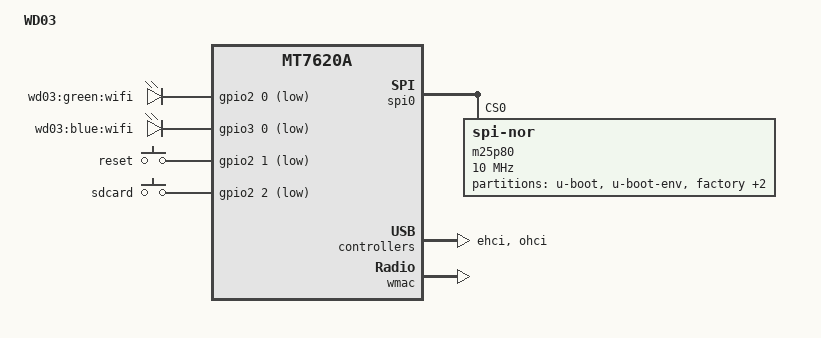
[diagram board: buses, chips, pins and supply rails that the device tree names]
/dts-v1/;

#include "mt7620a.dtsi"

#include <dt-bindings/input/input.h>

/ {
	compatible = "WD03", "ralink,mt7620a-soc";
	model = "WD03";

	chosen {
		bootargs = "console=ttyS0,115200";
	};

	gpio-leds {
		compatible = "gpio-leds";

		green-wifi {
			label = "wd03:green:wifi";
			gpios = <&gpio2 0 1>;
		};


		blue-wifi {
			label = "wd03:blue:wifi";
			gpios = <&gpio3 0 1>;
		};

	};

	gpio-keys-polled {
		compatible = "gpio-keys-polled";
		#address-cells = <1>;
		#size-cells = <0>;
		poll-interval = <20>;
		reset {
			label = "reset";
			gpios = <&gpio2 1 1>;
			linux,code = <KEY_RESTART>;
		};

		KEY_EJECTCD {
			label = "sdcard";
			gpios = <&gpio2 2 1>;
			linux,code = <KEY_EJECTCD>;
		};

	};
};

&gpio0 {
	status = "okay";
};

&gpio1 {
	status = "okay";
};

&gpio2 {
	status = "okay";
};
		
&gpio3 {
	status = "okay";
};

&spi0 {
	status = "okay";

	m25p80@0 {
		#address-cells = <1>;
		#size-cells = <1>;
		compatible = "jedec,spi-nor";
		reg = <0>;
		spi-max-frequency = <10000000>;

		partition@0 {
			label = "u-boot";
			reg = <0x0 0x30000>;
		};

		partition@30000 {
			label = "u-boot-env";
			reg = <0x30000 0x10000>;
			read-only;
		};

		factory: partition@40000 {
			label = "factory";
			reg = <0x40000 0x10000>;
			read-only;
		};

		partition@50000 {
			label = "firmware";
			reg = <0x50000 0x7b0000>;
		};

		partition@ff0000 {
			label = "art";
			reg = <0xff0000 0x10000>;
		};
	};
};

&ehci {
	status = "okay";
};

&ohci {
	status = "okay";
};

&ethernet {
	mtd-mac-address = <&factory 0x4000>;
	ralink,port-map = "wllll";
};

&wmac {
	ralink,mtd-eeprom = <&factory 0>;
};

&pinctrl {
	state_default: pinctrl0 {
		gpio {
			ralink,group = "wled","ephy","i2c";
			ralink,function = "gpio";
		};
	};
};
